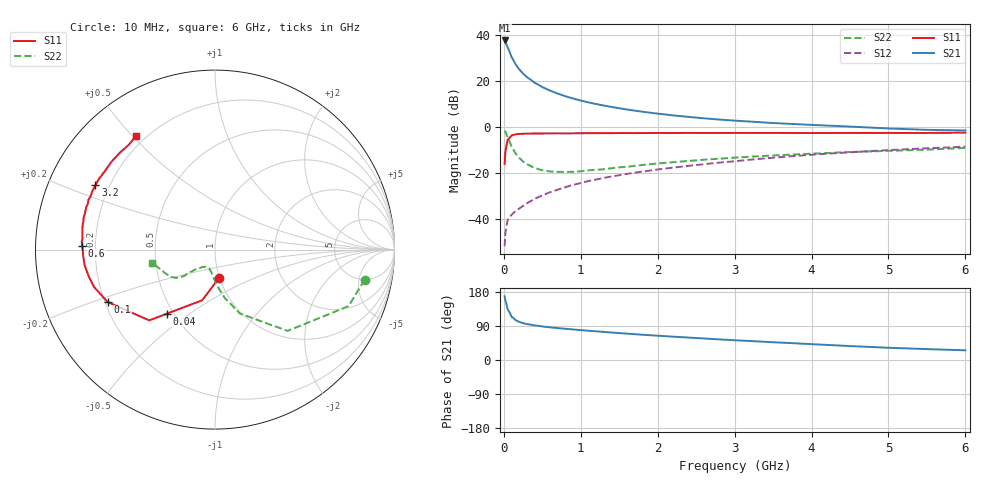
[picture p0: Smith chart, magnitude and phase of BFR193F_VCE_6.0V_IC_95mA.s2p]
! Infineon Technologies  Discrete & RF Semiconductors
! BFR193F
! VCE =  6.0 V,  IC =  95 mA
! Common Emitter S-Parameters:  Jan 2017
# GHz  S  MA  R  50
!  f  S11  S21  S12  S22
! GHz  MAG  ANG  MAG  ANG  MAG  ANG  MAG  ANG
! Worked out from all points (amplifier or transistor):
!   77 points, 10 MHz to 6 GHz, reference 50 ohm
!   highest |S21| = 37.8 dB at 10 MHz (marker M1)
!   |S21| within 3 dB of that: start of sweep to 49.31 MHz
!   unconditionally stable (mu >= 1): 468.7 MHz to 2.784 GHz
!   at 130 MHz: K = 0.63, MSG = 33.0 dB, |S12| = -37.1 dB
!   at 2.2 GHz: K = 1.04, MAG = 10.1 dB, |S12| = -17.5 dB
!   at 6 GHz: K = 0.87, MSG = 3.5 dB, |S12| = -8.4 dB
!   S11 on the Smith chart (normalised r, x): 10 MHz: 0.99, -0.33; 40 MHz: 0.46, -0.41; 100 MHz: 0.21, -0.22; 600 MHz: 0.15, +0.01; 3.2 GHz: 0.15, +0.25; 6 GHz: 0.16, +0.51
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0.01  0.1615 -82.7  77.86 168.3  0.0026 83.2  0.8499 -11.4
0.02  0.2915 -104.2  73.73 156.8  0.005 71.4  0.8084 -22.9
0.04  0.4465 -126.9  59.83 142.5  0.008 60.8  0.6583 -38.2
0.05  0.5383 -132.9  54.79 132.9  0.0096 58.0  0.607 -48.3
0.1  0.665 -153.9  34.11 114.0  0.0125 52.5  0.3822 -68.7
0.15  0.7047 -162.7  23.97 105.6  0.0149 53.4  0.2749 -78.6
0.2  0.7185 -167.7  18.32 100.5  0.0171 57.7  0.2184 -84.3
0.25  0.7262 -171.2  14.78 97.3  0.0195 60.2  0.1803 -89.0
0.3  0.7318 -173.5  12.41 94.9  0.0223 64.2  0.1587 -92.7
0.4  0.735 -177.0  9.364 91.2  0.0278 67.0  0.1306 -98.4
0.5  0.7367 -179.4  7.533 88.6  0.0331 71.0  0.1169 -103.3
0.6  0.74 178.6  6.31 86.2  0.0388 72.3  0.1097 -107.6
0.7  0.7438 176.6  5.428 84.2  0.0441 74.0  0.1079 -111.6
0.8  0.7406 175.3  4.757 82.4  0.05 75.5  0.1071 -115.5
1.1  0.7476 171.2  3.501 77.2  0.0679 77.0  0.1164 -123.0
1.5  0.7526 166.8  2.607 71.1  0.0911 77.6  0.135 -130.4
2.1  0.7544 161.1  1.907 62.9  0.1271 76.8  0.1691 -136.1
3.1  0.7565 152.5  1.37 51.1  0.1902 74.5  0.2245 -139.5
3.2  0.7565 151.7  1.338 50.1  0.1974 74.1  0.2297 -140.0
4.1  0.7538 143.6  1.114 40.8  0.2602 69.9  0.2719 -144.8
5.1  0.7561 133.6  0.933 31.6  0.3258 63.7  0.3123 -156.7
6  0.7705 124.9  0.858 25.6  0.3791 57.8  0.3576 -168.1
